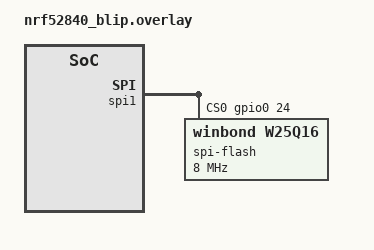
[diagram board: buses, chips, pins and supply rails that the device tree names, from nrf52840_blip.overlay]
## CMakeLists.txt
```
cmake_minimum_required(VERSION 3.13.1)
include($ENV{ZEPHYR_BASE}/cmake/app/boilerplate.cmake NO_POLICY_SCOPE)
project(spi_flash)

FILE(GLOB app_sources src/*.c)
# target_sources(app PRIVATE ${app_sources})
target_sources(app PRIVATE src/main.c src/iceprog_fw.c)
```

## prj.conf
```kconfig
CONFIG_STDOUT_CONSOLE=y
CONFIG_FLASH=y
CONFIG_SPI=y
CONFIG_SPI_1=y

CONFIG_SPI_FLASH_W25QXXDV=y

CONFIG_USB=y
CONFIG_USB_DEVICE_STACK=y
CONFIG_USB_CDC_ACM=y
CONFIG_SERIAL=y
CONFIG_UART_INTERRUPT_DRIVEN=y

CONFIG_USB_DEVICE_MANUFACTURER="Electronut Labs"
CONFIG_USB_DEVICE_PRODUCT="icy-blip"
```

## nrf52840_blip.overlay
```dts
&spi1 {
	cs-gpios = <&gpio0 24 0>;
	
	spi-flash@0 {
		#address-cells = <1>;
		#size-cells = <1>;
		compatible = "winbond,w25q16", "jedec,spi-nor";
		reg = <0>;
		spi-max-frequency = <8000000>;
	};
};
```

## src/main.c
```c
/*
 * Copyright (c) 2016 Intel Corporation.
 *
 * SPDX-License-Identifier: Apache-2.0
 */

#include <zephyr.h>
#include <device.h>
#include <uart.h>
#include <stdio.h>

#include <logging/log.h>
LOG_MODULE_REGISTER(ice_edge, LOG_LEVEL_DBG);

/* CDC ACM device */
struct device *cdcacm_dev;

/* pipe for rx from serial */
unsigned char __aligned(4) rx_ring_buffer[100];
struct k_pipe rx_pipe;

/* exported functions from iceprog_fw.c */
void setup();
void loop();

/*
	uart data from CDC ACM port is received via interrupt, and to send you can
	use uart_poll_out(...), or uart_fifo_fill(...)
*/

static void cdc_acm_interrupt_handler(struct device *dev)
{
	while (uart_irq_update(dev) && uart_irq_is_pending(dev)) {

		if (uart_irq_rx_ready(dev)) {
			unsigned char byte;

			LOG_DBG("RX ready interrupt");

			while (uart_fifo_read(dev, &byte, sizeof(byte))) {
				// process byte, if full packet is recieved, then for e.g. put 
				// in a fifo for some other thread to process 

				/* send data to the consumers */
				size_t bytes_written;
				k_pipe_put(&rx_pipe, &byte, 1, &bytes_written,
					1, K_NO_WAIT);
			}
		}
	}
}

void main(void)
{
	cdcacm_dev = device_get_binding(DT_NORDIC_NRF_USBD_VIRTUALCOM_LABEL);
	if (!cdcacm_dev) {
		LOG_ERR("CDC ACM device not found");
		return;
	}

	LOG_INF("USB serial initialized");

	uart_irq_callback_set(cdcacm_dev, cdc_acm_interrupt_handler);

	/* initiailize rx pipe */
	k_pipe_init(&rx_pipe, rx_ring_buffer, sizeof(rx_ring_buffer));

	/* Enable rx interrupts */
	uart_irq_rx_enable(cdcacm_dev);

	while(1) {
		loop();
	}
}
```

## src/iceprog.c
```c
/*

    TODO: add copyright notice, and source from olimex
    iceprog.c

*/

#include "iceprog.h"
#include "interface.h"

uint8_t rxframe[512], txframe[512], fcs,rfcs;
uint8_t membuf[256];
uint8_t data_buffer[256];
uint16_t txp;
uint32_t maxPage;
bool escaped;

extern device *flash_dev;

//SPIFlash flash(CS);

// ********************************************************************************
// Utility 
// ********************************************************************************
static void addbyte(uint8_t newbyte)
{
    fcs += newbyte;
    if (newbyte == FEND)
    {
        txframe[txp++] = FESC;
        txframe[txp++] = TFEND;
    }
    else if (newbyte == FESC)
    {
        txframe[txp++] = FESC;
        txframe[txp++] = TFESC;
    }
    else
        txframe[txp++] = newbyte;
}

static void sendframe()
{
    fcs = 0xff - fcs;
    addbyte(fcs);
    txframe[txp++] = FEND;
    Serial.write(txframe, txp);
}

static void startframe(uint8_t command)
{
    txframe[0] = FEND;
    txframe[1] = command;
    txp = 2;
    fcs = command;
}

static void decodeFrame(void)
{
    int x, y;
    escaped = false;
    y = 1;
    rfcs = rxframe[1];
    rxframe[0] = rxframe[1];
    for (x = 2; x < 512; x++)
    {
        switch (rxframe[x])
        {

        case FEND:
            x = 513;
            break;

        case FESC:
            escaped = true;
            break;

        case TFEND:
            if (escaped)
            {
                rxframe[y++] = FEND;
                rfcs += FEND;
                escaped = false;
            }
            else
            {
                rxframe[y++] = TFEND;
                rfcs += TFEND;
            }

            break;

        case TFESC:
            if (escaped)
            {
                rxframe[y++] = FESC;
                rfcs += FESC;
                escaped = false;
            }
            else
            {
                rxframe[y++] = TFESC;
                rfcs += TFESC;
            }

            break;

        default:
            escaped = false;
            rxframe[y++] = rxframe[x];
            rfcs += rxframe[x];
            break;
        }
    }
}

// ********************************************************************************
// FLASH WRITE 
// ********************************************************************************
static void secerase(uint32_t sector)
{
    flash.eraseBlock64K(sector << 8);
    startframe(READY);
    sendframe();
}

static void writepage(int pagenr)
{
    int x;
    flash.powerUp();

    for (x = 0; x < 256; x++)
        membuf[x] = rxframe[x + 3];

    flash.writePage(pagenr, membuf);
    flash.readPage(pagenr, data_buffer);
    flash.powerDown();

    for (int a = 0; a < 256; a++)
        if (data_buffer[a] != membuf[a])
            return;

    startframe(READY);
    sendframe();
}

static void flash_bulk_erase(void)
{
    flash.powerUp();
    flash.eraseChip();
    flash.powerDown();
    startframe(READY);
    addbyte(BULK_ERASE);
    sendframe();
}

void SendID(void)
{

    flash.powerUp();
    uint32_t JEDEC = flash.getJEDECID();
    flash.powerDown();
    startframe(READ_ID);
    addbyte(JEDEC >> 16);
    addbyte(JEDEC >> 8);
    addbyte(JEDEC >> 0);
    sendframe();
}

// ********************************************************************************
// FLASH READ 
// ********************************************************************************

//Reads a frame from Serial
static bool readSerialFrame(void) 
{
  Serial.setTimeout(50);
  
  if (!Serial)
  Serial.begin(230400);
  // Serial.begin(1000000);
  while (Serial.available()) {
    Serial.readBytesUntil(FEND,rxframe,512);
    //if (rxframe[0]!=FEND)
                return true;
  }
  return false;
}

static void readpage(uint16_t adr)
{

    bool sendempty = true;
    //delay(5);

    flash.readPage(adr, data_buffer);

    for (int a = 0; a < 256; a++)
    {
        if (data_buffer[a] != 0xff)
        {
            startframe(READ);
            addbyte(adr >> 8);
            addbyte(adr >> 0);
            for (int b = 0; b < 256; b++)
                addbyte(data_buffer[b]);
            sendframe();
            sendempty = false;
            break;
        }
    }
    if (sendempty)
    {
        startframe(EMPTY);
        addbyte(adr >> 8);
        addbyte(adr >> 0);
        sendframe();
    }
}

static void readAllPages(void)
{
    flash.powerUp();
    maxPage = 0x2000;
    delay(10);
    int p;
    for (p = 0; p < maxPage; p++)
        readpage(p);
    startframe(READY);
    sendframe();
    //
    flash.powerDown();
}

// ********************************************************************************

void iceprog_init()
{


}

void iceprog_flash()
{
    // put your main code here, to run repeatedly:

    if (readSerialFrame())
    {
        decodeFrame();
        if (rfcs == 0xff)
        {
            reset_low();

            switch (rxframe[0])
            {

            case FEND:
                break;

            case READ_ID:
                SendID();
                break;

            case BULK_ERASE:
                flash_bulk_erase();
                break;

            case SEC_ERASE:
                flash.powerUp();
                secerase((rxframe[1] << 8) | rxframe[2]);
                flash.powerDown();

                break;

            case READ:
                flash.powerUp();
                readpage((rxframe[1] << 8) | rxframe[2]);
                flash.powerDown();
                break;

            case READ_ALL:
                readAllPages();
                break;

            case PROG:
                writepage((rxframe[1] << 8) | rxframe[2]);
                break;

            default:
                break;

            } //switch
            reset_high();
        }
    }
}
```

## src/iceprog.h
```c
#ifndef ICEPROG_H
#define ICEPROG_H

#define LED 17
#define CDONE 3
#define RESET 2
#define UEXT_POWER 8
#define CS  13

//commands list
#define READ_ID   0x9F
#define PWR_UP    0xAB
#define PWR_DOWN  0xB9
#define WR_EN   0x06
#define BULK_ERASE  0xC7
#define SEC_ERASE 0xd8
#define PROG    0x02
#define READ    0x03
#define READ_ALL    0x83
#define CMD_ERROR 0xee
#define READY   0x44
#define EMPTY    0x45

#define FEND  0xc0
#define FESC  0xdb
#define TFEND   0xdc
#define TFESC  0xdd


void iceprog_init();
void iceprog_flash();


#endif // ICEPROG_H
```

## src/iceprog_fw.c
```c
/*
 *  iceprog -- firmware sketch for Arduino based Lattice iCE programmers
 *
 *  Chris B. <chris@protonic.co.uk> @ Olimex Ltd. <c> 2017
 *  Tavish Naruka <tavish@electronut.in> 2019
 *  
 *  Permission to use, copy, modify, and/or distribute this software for any
 *  purpose with or without fee is hereby granted, provided that the above
 *  copyright notice and this permission notice appear in all copies.
 *  
 *  THE SOFTWARE IS PROVIDED "AS IS" AND THE AUTHOR DISCLAIMS ALL WARRANTIES
 *  WITH REGARD TO THIS SOFTWARE INCLUDING ALL IMPLIED WARRANTIES OF
 *  MERCHANTABILITY AND FITNESS. IN NO EVENT SHALL THE AUTHOR BE LIABLE FOR
 *  ANY SPECIAL, DIRECT, INDIRECT, OR CONSEQUENTIAL DAMAGES OR ANY DAMAGES
 *  WHATSOEVER RESULTING FROM LOSS OF USE, DATA OR PROFITS, WHETHER IN AN
 *  ACTION OF CONTRACT, NEGLIGENCE OR OTHER TORTIOUS ACTION, ARISING OUT OF
 *  OR IN CONNECTION WITH THE USE OR PERFORMANCE OF THIS SOFTWARE.
 *
 *  Relevant Documents:
 *  -------------------
 *  http://www.latticesemi.com/~/media/Documents/UserManuals/EI/icestickusermanual.pdf
 *  http://www.micron.com/~/media/documents/products/data-sheet/nor-flash/serial-nor/n25q/n25q_32mb_3v_65nm.pdf
 *  http://www.ftdichip.com/Support/Documents/AppNotes/AN_108_Command_Processor_for_MPSSE_and_MCU_Host_Bus_Emulation_Modes.pdf
 *  https://www.olimex.com/Products/FPGA/iCE40/iCE40HX1K-EVB/
 *  https://github.com/Marzogh/SPIFlash  
 */

// Install SPIFlash v2.2.0 Arduino Library; Sketch -> Include Library -> Manage Libraries
// SPIFlash 2.2.0 library for Winbond Flash Memory by Prajwal Bhattaram - Marzogh

//commands list
#define READ_ID   0x9F
#define PWR_UP    0xAB
#define PWR_DOWN  0xB9
#define WR_EN   0x06
#define BULK_ERASE  0xC7
#define SEC_ERASE 0xd8
#define CMD_PROG    0x02
#define CMD_READ    0x03
#define CMD_READ_ALL    0x83
#define CMD_ERROR 0xee
#define CMD_READY   0x44
#define CMD_EMPTY    0x45

#define FEND  0xc0
#define FESC  0xdb
#define TFEND   0xdc
#define TFESC  0xdd

#include "interface.h"

uint8_t rxframe[512], txframe[512], fcs,rfcs;
uint8_t membuf[256];
uint8_t data_buffer[256];
uint16_t txp;
uint32_t maxPage;
bool escaped;

// forward declarations
void decodeFrame(void);
void SendID(void);
void secerase(uint32_t sector);
void readpage(uint16_t adr);
void readAllPages(void);
void writepage(int pagenr);
void startframe(uint8_t command);
void sendframe();
void flash_bulk_erase(void);
void addbyte(uint8_t newbyte);

// FRAME:   <FEND><CMD>{data if any}<FCS(sume of all bytes = 0xFF)><FEND>
// if FEND, FESC in data - <FEND>=<FESC><TFEND>;  <FESC>=<FESC><TFESC>

void setup() {
    // initialize pins
    interface_pins_configure();

    led_off();
    reset_high();
}

void loop()
{
    if (read_serial_frame()) {
        decodeFrame();
        
        if (rfcs==0xff) {
            reset_low();

            switch (rxframe[0]) {
                case FEND:
                    break;

                case READ_ID:
                    SendID();
                    break;

                case BULK_ERASE:
                    flash_bulk_erase();
                    break;

                case SEC_ERASE:
                    flash_power_up();
                    secerase((rxframe[1]<<8) | rxframe[2]);
                    flash_power_down();

                    break;

                case CMD_READ: 
                    flash_power_up();
                    readpage((rxframe[1]<<8) | rxframe[2]);
                    flash_power_down();
                    break;

                case CMD_READ_ALL:
                    readAllPages();
                    break;   

                case CMD_PROG:
                    writepage((rxframe[1]<<8) | rxframe[2]);
                    break;

                default:
                    break;
            }

            reset_high();
        } 
    }
}

void secerase(uint32_t sector)
{
    flash_erase_block64k(sector<<8);

    startframe(CMD_READY);
    sendframe();  
}

void decodeFrame(void)
{
    int x,y;
    escaped = false;
    y = 1;
    rfcs = rxframe[1];
    rxframe[0]=rxframe[1];
    for (x=2;x<512;x++)
    {
        switch (rxframe[x]) {
            case FEND:
                x = 513;
                break;

            case FESC:
                escaped = true;
                break;

            case TFEND:
                if (escaped) {
                    rxframe[y++] = FEND;
                    rfcs+=FEND;
                    escaped = false;
                }
                else {
                    rxframe[y++]=TFEND;
                    rfcs+=TFEND;
                }
                break;

            case TFESC:
                if (escaped) {
                    rxframe[y++]=FESC;
                    rfcs+=FESC;
                    escaped = false;
                }
                else {
                    rxframe[y++]=TFESC;
                    rfcs+=TFESC;
                }
                break;    

            default:
                escaped = false;
                rxframe[y++] = rxframe[x];
                rfcs+=rxframe[x];
                break;
        }
   }
}

void writepage(int pagenr)
{
    int x;
    flash_power_up();

    for (x=0; x<256;x++) {
        membuf[x]=rxframe[x+3];
    }

    flash_write_page(pagenr, membuf);
    flash_read_page(pagenr, data_buffer);
    flash_power_down();

    for (int a = 0; a < 256; a++) {
        if (data_buffer[a] != membuf[a]) {
            return;
        }
    }

    startframe(CMD_READY);
    sendframe();  
}

void flash_bulk_erase(void)
{
    flash_power_up();
    flash_erase_all();
    flash_power_down();
    startframe(CMD_READY);
    addbyte(BULK_ERASE);
    sendframe();
}

void SendID(void)
{
    flash_power_up();
    uint32_t JEDEC = flash_get_JEDEC_ID();
    flash_power_down();
    startframe(READ_ID);
    addbyte(JEDEC >> 16);
    addbyte(JEDEC >> 8);
    addbyte(JEDEC >> 0);
    sendframe();
}

void sendframe() 
{
    fcs = 0xff - fcs;
    addbyte(fcs);
    txframe[txp++] = FEND;
    serial_write(txframe,txp);
}

void startframe(uint8_t command) 
{
  txframe[0]=FEND;
  txframe[1]=command;
  txp = 2;
  fcs = command;
}

void addbyte(uint8_t newbyte) 
{
    fcs+=newbyte;
    if (newbyte == FEND) {
        txframe[txp++] = FESC;
        txframe[txp++] = TFEND;
    }
    else if (newbyte == FESC) {
        txframe[txp++] = FESC;
        txframe[txp++] = TFESC;
    }
    else {
        txframe[txp++] = newbyte;
    }
}

void readAllPages(void) 
{
    flash_power_up();
    maxPage=0x2000;
    delay(10);
    
    for (int p=0;p<maxPage;p++) {
        readpage(p);
    }

    startframe(CMD_READY);
    sendframe();
    
    flash_power_down();
}

void readpage(uint16_t adr)
{
    bool sendempty = true;  

    flash_read_page(adr, data_buffer);

    for (int a = 0; a < 256; a++){
        if (data_buffer[a] != 0xff){
            startframe(CMD_READ);
            addbyte(adr >> 8);
            addbyte(adr >> 0);
            for (int b = 0;b<256;b++) {
                addbyte(data_buffer[b]);
            }
            sendframe();
            sendempty=false;
            break;    
        }
    }

    if (sendempty) {
        startframe(CMD_EMPTY);
        addbyte(adr >> 8);
        addbyte(adr >> 0);  
        sendframe();
    }
}
```

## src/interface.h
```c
#ifndef __INTERFACE_H__
#define __INTERFACE_H__

#include <zephyr.h>
#include <gpio.h>
#include <flash.h>
#include <device.h>
#include <uart.h>

// from main.c
extern struct device *cdcacm_dev;
extern struct k_pipe rx_pipe;

// from iceprog_fw.c
extern uint8_t rxframe[];

// 64K
#define FLASH_SECTOR_SIZE        0x10000
#define FLASH_PAGE_SIZE          256

#define GPIO_RESET_PIN  22
#define GPIO_CDONE_PIN  23
#define GPIO_LED_PIN    DT_GPIO_LEDS_LED_0_GPIO_PIN

#define GPIO_RESET_GPIODEV  "GPIO_0"
#define GPIO_CDONE_GPIODEV  "GPIO_0"
#define GPIO_LED_GPIODEV    DT_GPIO_LEDS_LED_0_GPIO_CONTROLLER

// we'll use these for quick access
static struct device *gpio_reset_dev;
static struct device *gpio_cdone_dev;
static struct device *gpio_led_dev;
static struct device *flash_dev;

static void led_off()
{
    gpio_pin_write(gpio_led_dev, GPIO_LED_PIN, 1);
}

static void led_on()
{
    gpio_pin_write(gpio_led_dev, GPIO_LED_PIN, 0);
}

static void reset_high()
{
    gpio_pin_write(gpio_reset_dev, GPIO_RESET_PIN, 1);
}

static void reset_low()
{
    gpio_pin_write(gpio_reset_dev, GPIO_RESET_PIN, 0);
}

static u32_t cdone_read()
{
    u32_t val;
    gpio_pin_read(gpio_cdone_dev, GPIO_CDONE_PIN, &val);

    return val;
}

static void flash_erase_block64k(u32_t address)
{
    // flash_write_protection_set(flash_dev, false);
	if (flash_erase(flash_dev,
			address,
			FLASH_SECTOR_SIZE) != 0) {
        // error
	}
}

static void flash_write_page(u32_t page_num, u8_t *buf)
{
    // flash_write_protection_set(flash_dev, false);
    if (flash_write(flash_dev, page_num<<8, buf,
	    FLASH_PAGE_SIZE) != 0) {
		// error
	}
}

static void flash_read_page(u32_t page_num, u8_t *buf)
{
    if (flash_read(flash_dev, page_num<<8, buf,
	    FLASH_PAGE_SIZE) != 0) {
        // error
	}
}

static void flash_power_up()
{
    flash_write_protection_set(flash_dev, false);
}

static void flash_power_down()
{
    // do nothing?
}

static void flash_erase_all()
{
    size_t num_pages = flash_get_page_count(flash_dev);

    if (flash_erase(flash_dev,
			0,
			num_pages<<8) != 0) {
        // error
	}
}

static u32_t flash_get_JEDEC_ID()
{
#warning JEDEC ID is hardcoded
    return 0xEF164017;
}

void serial_write(u8_t *buf, u32_t len)
{
    for (int i=0; i<len; i++) {
        uart_poll_out(cdcacm_dev, buf[i]);
    }
}

static void delay(u32_t ms)
{
    k_sleep(ms);
}

static void interface_pins_configure()
{
    gpio_reset_dev = device_get_binding(GPIO_RESET_GPIODEV);
    gpio_cdone_dev = device_get_binding(GPIO_CDONE_GPIODEV);
    gpio_led_dev = device_get_binding(GPIO_LED_GPIODEV);

    // CDONE, RESET, and LED
    gpio_pin_configure(gpio_cdone_dev, GPIO_CDONE_PIN, (GPIO_DIR_IN));
    gpio_pin_configure(gpio_reset_dev, GPIO_RESET_PIN, (GPIO_DIR_OUT));
    gpio_pin_configure(gpio_led_dev, GPIO_LED_PIN, (GPIO_DIR_OUT));

    flash_dev = device_get_binding(CONFIG_SPI_FLASH_W25QXXDV_DRV_NAME);
}

// serial stuff
// Reads a frame from Serial
bool read_serial_frame(void) 
{
    size_t bytes_read;
    uint8_t byte;

    int index = 0;
    while(index < 512) {
        k_pipe_get(&rx_pipe, &byte, 1, &bytes_read, 1, K_FOREVER);
        if(byte == FEND) {
            break;
        }
        rxframe[index] = byte;
        index++;
    }

    return index > 0;
}

#endif // __INTERFACE_H__
```
